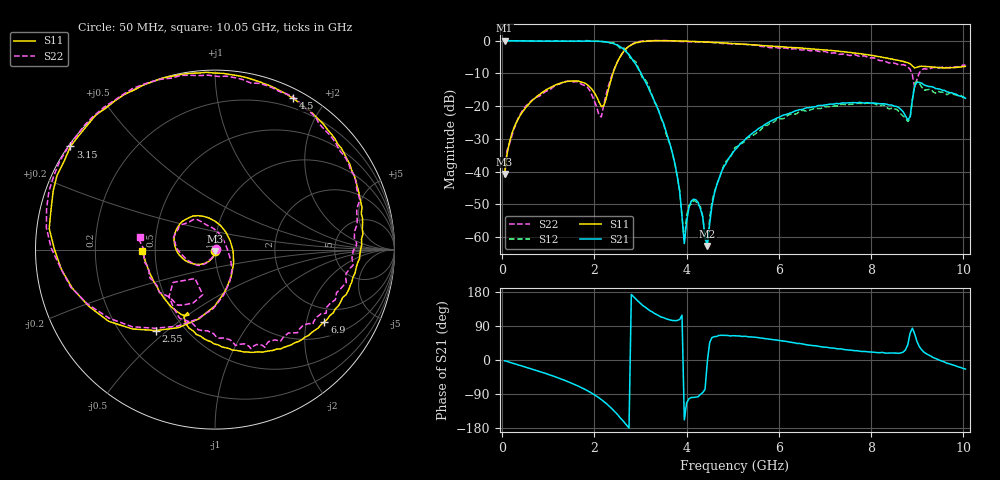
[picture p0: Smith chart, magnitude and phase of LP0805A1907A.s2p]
! AVX THIN FILM OPERATION
! 0805 Size Low Pass Filter P/N  LP0805A1907AWTR
! Network Analyzer HP8720ES.07.64: Feb 23, 2000 Serial No. US39172382
! Hewlett-Packard
!  2 Feb 2003  04:16:59
! Frequency  S11  S21  S12  S22
# HZ  S  DB R  50
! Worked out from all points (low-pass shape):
!   201 points, 50 MHz to 10.05 GHz, reference 50 ohm
!   highest |S21| = 0.00 dB at 50 MHz (marker M1); lowest = -62.7 dB at 4.45 GHz (marker M2)
!   |S21| within 3 dB of the highest: start of sweep to 2.662 GHz
!   lowest |S11| = -40.8 dB at 50 MHz (marker M3), VSWR 1.02, Z = 50.1 - j0.914 ohm
!   |S11| at or under -10 dB: start of sweep to 2.401 GHz
!   |S22| runs from -41.8 to 0.1 dB; largest |S21 - S12| = 0.066
!   S11 on the Smith chart (normalised r, x): 50 MHz: 1.00, -0.02; 2.55 GHz: 0.35, -0.46; 3.15 GHz: 0.01, +0.32; 4.5 GHz: 0.10, +1.63; 6.9 GHz: 1.49, -2.56; 10.05 GHz: 0.42, -0.01
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5e7  -40.77 -85.3  -0.00 -2.0  0.01 -2.0  -41.76 14.8
1e8  -34.93 -93.5  -0.03 -3.6  -0.01 -3.8  -33.68 -94.0
5e8  -20.62 -126.0  -0.08 -18.6  -0.06 -18.9  -20.12 -126.0
1.75e9  -12.78 129.3  -0.14 -74.8  -0.25 -75.1  -13.54 132.7
2.15e9  -20.13 31.4  -0.23 -104.5  -0.24 -105.0  -23.28 2.8
2.55e9  -5.08 -126.0  -1.80 -151.5  -2.25 -151.4  -5.17 -127.4
2.85e9  -0.96 179.7  -6.30 166.9  -6.04 171.2  -0.79 179.4
3.15e9  -0.09 144.5  -13.77 134.9  -12.96 132.0  -0.02 145.5
3.4e9  -0.01 123.8  -21.75 116.7  -21.58 112.1  0.02 124.2
3.75e9  -0.05 101.0  -37.84 103.8  -38.06 104.5  -0.10 101.1
3.95e9  -0.14 90.0  -62.00 -157.9  -61.35 -161.1  -0.31 88.8
4.15e9  -0.23 79.6  -48.48 -98.8  -48.83 -98.8  -0.45 77.9
4.45e9  -0.42 65.1  -62.70 -3.9  -62.80 11.5  -0.39 63.0
4.5e9  -0.46 62.8  -55.99 46.0  -54.25 53.4  -0.45 61.2
4.65e9  -0.56 55.9  -44.32 62.2  -43.98 58.1  -0.62 54.5
5.05e9  -0.89 38.6  -33.36 64.1  -32.66 60.9  -1.02 36.1
6.75e9  -2.53 -28.2  -20.22 37.8  -20.81 38.3  -2.93 -29.7
6.9e9  -2.73 -33.4  -19.79 35.1  -20.78 35.3  -3.37 -34.1
8.4e9  -5.50 -88.2  -19.65 18.5  -20.87 17.3  -6.84 -95.2
8.8e9  -6.74 -108.5  -24.24 40.2  -24.70 40.2  -8.04 -125.7
9e9  -8.11 -111.6  -12.70 48.7  -12.42 40.1  -11.70 -105.2
1.005e10  -7.85 -179.3  -17.62 -23.7  -17.36 -19.0  -7.43 170.6
